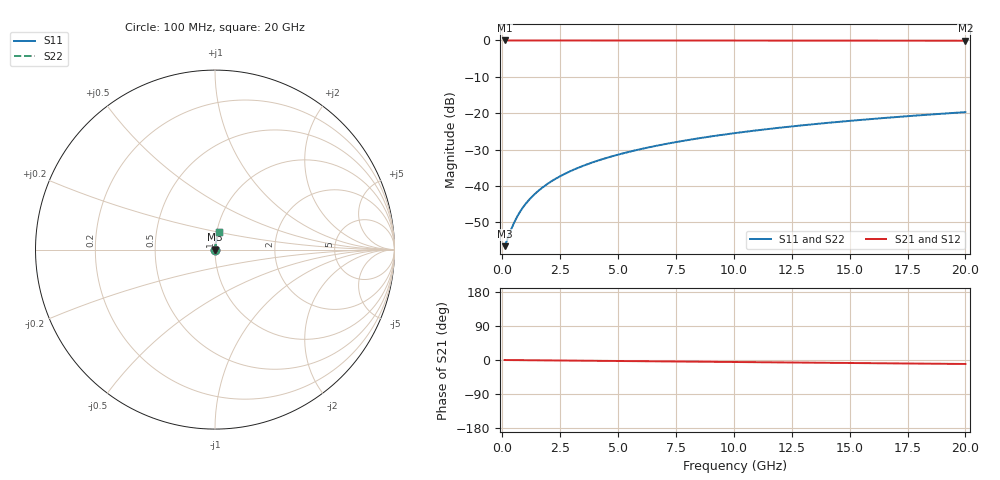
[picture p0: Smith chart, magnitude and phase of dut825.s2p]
! Touchstone file exported from HFSS 2026.1.0
!  File:  C:/ffzhzh/LocalFiles/Ansys_Project_Files/temp_train_TSV_825_1783184627_55132.aedt
!  Generated:  01:05:34 AM Jul  5, 2026
!  Design:  TSV
!  Project:  temp_train_TSV_825_1783184627_55132
! Variables:
!  h_bsmrdl = 2um
!  h_ox = 20um
!  h_rdl = 5um
!  h_sub = 88.95um
!  h_tmrdl = 5um
!  h_tsv = 88.95um
!  h_via = 3um
!  l_bsmrdl = 300um
!  l_sub = 405.46um
!  l_tmrdl = 200um
!  m_sub = 200um
!  pitch = 32.79um
!  r_tsv = 2.73um
!  s_tmrdl = 10um
!  w_bsmrdl = 18um
!  w_sub = 500um
!  w_tmrdl = 12um
!  x_tsv_center1 = 206um
!  x_tsv_center2 = 524um
!  x_tsv_center3 = 736um
!  x_tsv_center4 = 1054um
!  x_tsv_center5 = 1266um
!  x_tsv_center6 = 1584um
# GHz S MA R 50.000000
! Terminal data exported
! Port[1] = TSV1_1_T1
! Port[2] = TSV1_1_T2
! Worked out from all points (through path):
!   200 points, 100 MHz to 20 GHz, reference 50 ohm
!   highest |S21| = -0.01 dB at 100 MHz (marker M1); lowest = -0.1 dB at 20 GHz (marker M2)
!   group delay of S21, straight-line fit = 1.46 ps
!   lowest |S11| = -56.6 dB at 100 MHz (marker M3), VSWR 1.00, Z = 50.1 + j0.0552 ohm
!   |S11| at or under -10 dB: start of sweep to end of sweep
!   |S22| runs from -56.6 to -19.7 dB; largest |S21 - S12| = 3.5e-15
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0.1  0.001486 21.8  0.9986 -0.1  0.9986 -0.1  0.001486 21.8
! Gamma 0 0 0 0
! Port Impedance 50 0 50 0
0.2  0.00177 38.4  0.9986 -0.1  0.9986 -0.1  0.00177 38.4
0.4  0.002603 57.2  0.9986 -0.2  0.9986 -0.2  0.002603 57.2
0.5  0.003077 62.4  0.9986 -0.3  0.9986 -0.3  0.003077 62.4
0.7  0.004072 69.1  0.9986 -0.4  0.9986 -0.4  0.004072 69.1
0.8  0.004583 71.4  0.9986 -0.4  0.9986 -0.4  0.004583 71.4
1  0.00562 74.6  0.9985 -0.5  0.9985 -0.5  0.00562 74.6
1.3  0.007198 77.6  0.9985 -0.7  0.9985 -0.7  0.007198 77.6
1.7  0.009322 79.9  0.9985 -0.9  0.9985 -0.9  0.009322 79.9
2.2  0.01199 81.5  0.9984 -1.2  0.9984 -1.2  0.01199 81.5
2.8  0.0152 82.5  0.9983 -1.5  0.9983 -1.5  0.0152 82.5
3.5  0.01894 83.1  0.9981 -1.9  0.9981 -1.9  0.01894 83.1
4.2  0.02267 83.3  0.998 -2.3  0.998 -2.3  0.02267 83.3
5  0.02691 83.3  0.9978 -2.7  0.9978 -2.7  0.02691 83.3
5.9  0.03167 83.2  0.9975 -3.2  0.9975 -3.2  0.03167 83.2
6.8  0.03639 82.9  0.9972 -3.6  0.9972 -3.6  0.03639 82.9
8.3  0.04421 82.4  0.9966 -4.4  0.9966 -4.4  0.04421 82.4
10.1  0.0535 81.7  0.9958 -5.4  0.9958 -5.4  0.0535 81.7
11.7  0.06169 81.0  0.9951 -6.2  0.9951 -6.2  0.06169 81.0
13.4  0.07032 80.2  0.9943 -7.1  0.9943 -7.1  0.07032 80.2
16.7  0.08692 78.8  0.9925 -8.8  0.9925 -8.8  0.08692 78.8
20  0.1033 77.2  0.9906 -10.5  0.9906 -10.5  0.1033 77.2
